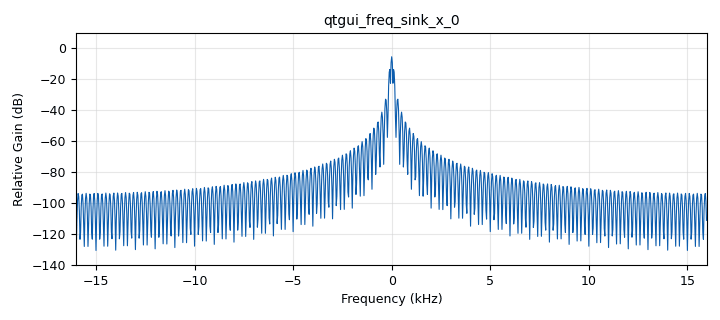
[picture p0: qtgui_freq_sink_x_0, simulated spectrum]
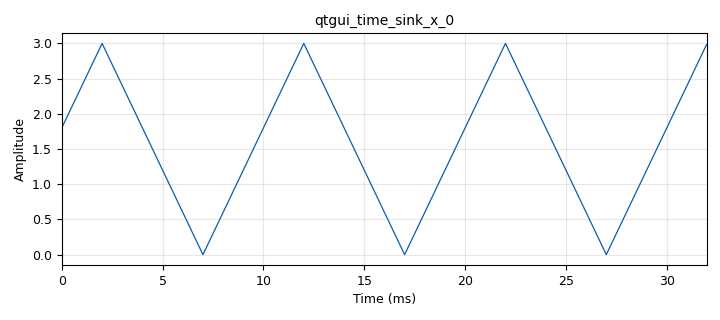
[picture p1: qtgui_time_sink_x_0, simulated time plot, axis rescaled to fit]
options:
  parameters:
    generate_options: qt_gui
    id: Lab_comu_I
    output_language: python
    title: Primer Flujograma
  states: {}

blocks:
- name: frequency
  id: variable_qtgui_range
  parameters:
    start: '-16000'
    step: '100'
    stop: '16000'
    value: '100'
  states: {}
- name: frequency
  id: variable
  parameters:
    value: samp_rate/3
  states: {state: disabled}
- name: samp_rate
  id: variable
  parameters:
    value: '32000'
  states: {}
- name: analog_sig_source_x_0
  id: analog_sig_source_x
  parameters:
    amp: '3'
    freq: frequency
    offset: '0'
    phase: '0'
    samp_rate: samp_rate
    type: float
    waveform: analog.GR_TRI_WAVE
  states: {}
- name: blocks_throttle_0
  id: blocks_throttle
  parameters:
    samples_per_second: samp_rate
    type: float
  states: {}
- name: qtgui_freq_sink_x_0
  id: qtgui_freq_sink_x
  parameters:
    bw: samp_rate
    fc: '0'
    fftsize: '1024'
    type: float
  states: {}
- name: qtgui_time_sink_x_0
  id: qtgui_time_sink_x
  parameters:
    size: '1024'
    srate: samp_rate
    type: float
  states: {}

connections:
- [analog_sig_source_x_0, '0', blocks_throttle_0, '0']
- [blocks_throttle_0, '0', qtgui_freq_sink_x_0, '0']
- [blocks_throttle_0, '0', qtgui_time_sink_x_0, '0']

metadata:
  file_format: 1
  grc_version: 3.9.8.0
